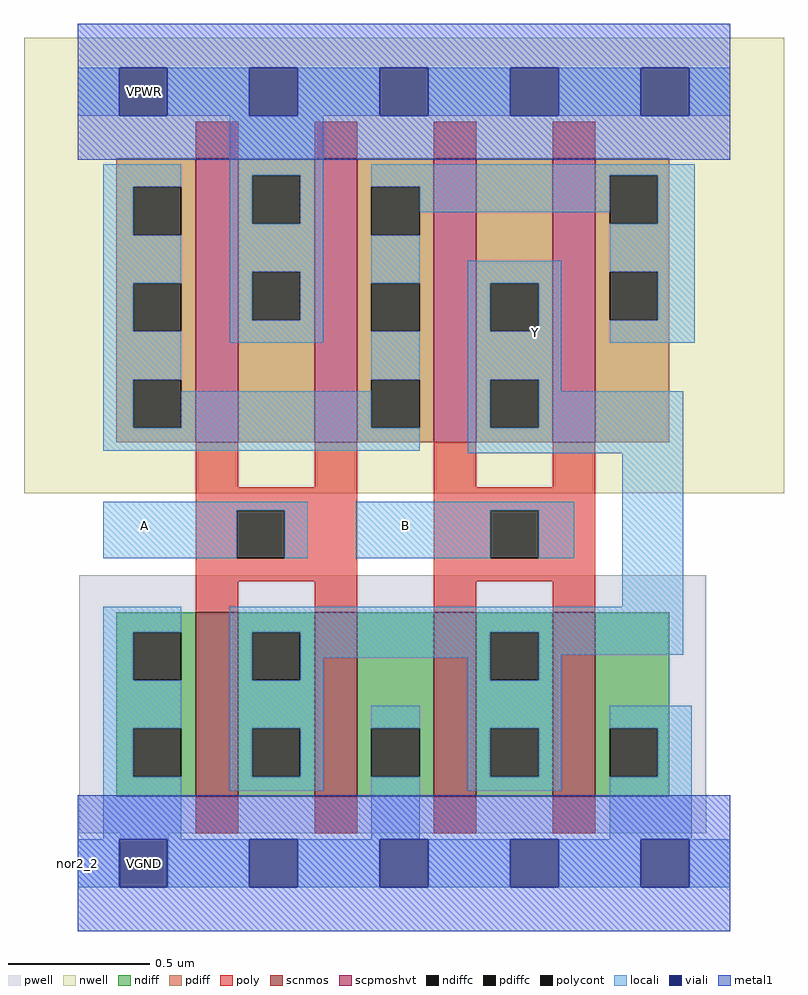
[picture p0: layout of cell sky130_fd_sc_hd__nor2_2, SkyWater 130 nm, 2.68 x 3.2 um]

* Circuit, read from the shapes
.subckt sky130_fd_sc_hd__nor2_2 VGND VPWR VPB VNB B Y A
XM1 Y A VGND VNB sky130_fd_pr__nfet_01v8 w=0.65 l=0.15 m=2
XM2 Y B VGND VNB sky130_fd_pr__nfet_01v8 w=0.65 l=0.15 m=2
XM3 VPWR A n1 VPB sky130_fd_pr__pfet_01v8_hvt w=1 l=0.15 m=2
XM4 Y B n1 VPB sky130_fd_pr__pfet_01v8_hvt w=1 l=0.15 m=2
.ends

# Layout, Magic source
magic
tech sky130B
magscale 1 2
<< nwell >>
rect -38 221 498 542
<< pwell >>
rect 1 -19 443 163
rect 30 -57 64 -19
<< scnmos >>
rect 83 7 113 137
rect 167 7 197 137
rect 251 7 281 137
rect 335 7 365 137
<< scpmoshvt >>
rect 83 257 113 457
rect 167 257 197 457
rect 251 257 281 457
rect 335 257 365 457
<< ndiff >>
rect 27 123 83 137
rect 27 89 39 123
rect 73 89 83 123
rect 27 55 83 89
rect 27 21 39 55
rect 73 21 83 55
rect 27 7 83 21
rect 113 123 167 137
rect 113 89 123 123
rect 157 89 167 123
rect 113 55 167 89
rect 113 21 123 55
rect 157 21 167 55
rect 113 7 167 21
rect 197 55 251 137
rect 197 21 207 55
rect 241 21 251 55
rect 197 7 251 21
rect 281 123 335 137
rect 281 89 291 123
rect 325 89 335 123
rect 281 55 335 89
rect 281 21 291 55
rect 325 21 335 55
rect 281 7 335 21
rect 365 55 417 137
rect 365 21 375 55
rect 409 21 417 55
rect 365 7 417 21
<< pdiff >>
rect 27 437 83 457
rect 27 403 39 437
rect 73 403 83 437
rect 27 369 83 403
rect 27 335 39 369
rect 73 335 83 369
rect 27 301 83 335
rect 27 267 39 301
rect 73 267 83 301
rect 27 257 83 267
rect 113 445 167 457
rect 113 411 123 445
rect 157 411 167 445
rect 113 377 167 411
rect 113 343 123 377
rect 157 343 167 377
rect 113 257 167 343
rect 197 437 251 457
rect 197 403 207 437
rect 241 403 251 437
rect 197 369 251 403
rect 197 335 207 369
rect 241 335 251 369
rect 197 301 251 335
rect 197 267 207 301
rect 241 267 251 301
rect 197 257 251 267
rect 281 369 335 457
rect 281 335 291 369
rect 325 335 335 369
rect 281 301 335 335
rect 281 267 291 301
rect 325 267 335 301
rect 281 257 335 267
rect 365 445 417 457
rect 365 411 375 445
rect 409 411 417 445
rect 365 377 417 411
rect 365 343 375 377
rect 409 343 417 377
rect 365 257 417 343
<< ndiffc >>
rect 39 89 73 123
rect 39 21 73 55
rect 123 89 157 123
rect 123 21 157 55
rect 207 21 241 55
rect 291 89 325 123
rect 291 21 325 55
rect 375 21 409 55
<< pdiffc >>
rect 39 403 73 437
rect 39 335 73 369
rect 39 267 73 301
rect 123 411 157 445
rect 123 343 157 377
rect 207 403 241 437
rect 207 335 241 369
rect 207 267 241 301
rect 291 335 325 369
rect 291 267 325 301
rect 375 411 409 445
rect 375 343 409 377
<< poly >>
rect 83 457 113 483
rect 167 457 197 483
rect 251 457 281 483
rect 335 457 365 483
rect 83 225 113 257
rect 167 225 197 257
rect 83 209 197 225
rect 83 175 112 209
rect 146 175 197 209
rect 83 159 197 175
rect 83 137 113 159
rect 167 137 197 159
rect 251 225 281 257
rect 335 225 365 257
rect 251 209 365 225
rect 251 175 291 209
rect 325 175 365 209
rect 251 159 365 175
rect 251 137 281 159
rect 335 137 365 159
rect 83 -19 113 7
rect 167 -19 197 7
rect 251 -19 281 7
rect 335 -19 365 7
<< polycont >>
rect 112 175 146 209
rect 291 175 325 209
<< locali >>
rect 0 487 29 521
rect 63 487 121 521
rect 155 487 213 521
rect 247 487 305 521
rect 339 487 397 521
rect 431 487 460 521
rect 18 437 73 453
rect 18 403 39 437
rect 18 369 73 403
rect 18 335 39 369
rect 18 301 73 335
rect 107 445 173 487
rect 107 411 123 445
rect 157 411 173 445
rect 107 377 173 411
rect 107 343 123 377
rect 157 343 173 377
rect 107 327 173 343
rect 207 445 435 453
rect 207 437 375 445
rect 241 419 375 437
rect 207 369 241 403
rect 409 411 435 445
rect 18 267 39 301
rect 207 301 241 335
rect 73 267 207 293
rect 18 251 241 267
rect 275 369 341 385
rect 275 335 291 369
rect 325 335 341 369
rect 275 301 341 335
rect 375 377 435 411
rect 409 343 435 377
rect 375 327 435 343
rect 275 267 291 301
rect 325 293 341 301
rect 325 267 427 293
rect 275 249 427 267
rect 18 209 162 215
rect 18 175 112 209
rect 146 175 162 209
rect 196 209 350 215
rect 196 175 291 209
rect 325 175 350 209
rect 384 141 427 249
rect 18 123 73 141
rect 18 89 39 123
rect 18 55 73 89
rect 18 21 39 55
rect 18 -23 73 21
rect 107 123 427 141
rect 107 89 123 123
rect 157 105 291 123
rect 157 89 173 105
rect 107 55 173 89
rect 275 89 291 105
rect 325 107 427 123
rect 325 89 341 107
rect 107 21 123 55
rect 157 21 173 55
rect 107 11 173 21
rect 207 55 241 71
rect 207 -23 241 21
rect 275 55 341 89
rect 275 21 291 55
rect 325 21 341 55
rect 275 11 341 21
rect 375 55 433 71
rect 409 21 433 55
rect 375 -23 433 21
rect 0 -57 29 -23
rect 63 -57 121 -23
rect 155 -57 213 -23
rect 247 -57 305 -23
rect 339 -57 397 -23
rect 431 -57 460 -23
<< viali >>
rect 29 487 63 521
rect 121 487 155 521
rect 213 487 247 521
rect 305 487 339 521
rect 397 487 431 521
rect 29 -57 63 -23
rect 121 -57 155 -23
rect 213 -57 247 -23
rect 305 -57 339 -23
rect 397 -57 431 -23
<< metal1 >>
rect 0 521 460 552
rect 0 487 29 521
rect 63 487 121 521
rect 155 487 213 521
rect 247 487 305 521
rect 339 487 397 521
rect 431 487 460 521
rect 0 456 460 487
rect 0 -23 460 8
rect 0 -57 29 -23
rect 63 -57 121 -23
rect 155 -57 213 -23
rect 247 -57 305 -23
rect 339 -57 397 -23
rect 431 -57 460 -23
rect 0 -88 460 -57
<< labels >>
rlabel comment s 0 -40 0 -40 4 nor2_2
flabel metal1 s 30 -57 64 -23 0 FreeSans 200 0 0 0 VGND
port 2 nsew
flabel metal1 s 30 487 64 521 0 FreeSans 200 0 0 0 VPWR
port 3 nsew
flabel nwell s 30 487 64 521 0 FreeSans 200 0 0 0 VPB
port 5 nsew
flabel pwell s 30 -57 64 -23 0 FreeSans 200 0 0 0 VNB
port 6 nsew
flabel locali s 214 181 248 215 0 FreeSans 400 0 0 0 B
port 8 nsew
flabel locali s 306 317 340 351 0 FreeSans 400 0 0 0 Y
port 9 nsew
flabel locali s 30 181 64 215 0 FreeSans 400 0 0 0 A
port 10 nsew
<< properties >>
string FIXED_BBOX 0 -40 460 504
string path 0.000 -1.000 11.500 -1.000 
<< end >>
